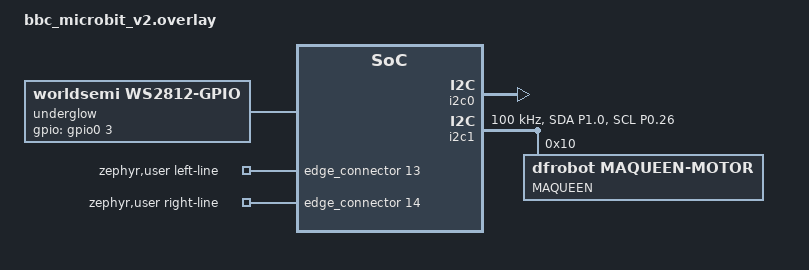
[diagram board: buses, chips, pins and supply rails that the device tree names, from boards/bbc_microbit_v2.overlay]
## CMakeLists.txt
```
# Maqueen Plus V3 Zephyr Test Application

cmake_minimum_required(VERSION 3.20.0)

# Add local DTS bindings
list(APPEND DTS_ROOT ${CMAKE_CURRENT_SOURCE_DIR})

find_package(Zephyr REQUIRED HINTS $ENV{ZEPHYR_BASE})

project(maqueen_test)

target_sources(app PRIVATE
    src/main.c
    src/maqueen.c
)

target_include_directories(app PRIVATE
    ${CMAKE_CURRENT_SOURCE_DIR}/src
)
```

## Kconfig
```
# Top-level Kconfig for zephyr-app
#
# SPDX-License-Identifier: Apache-2.0

mainmenu "Maqueen Plus V3 Zephyr Application"

# Include Zephyr Kconfig
source "Kconfig.zephyr"

# Include local driver Kconfigs
rsource "drivers/sen0628/Kconfig"
```

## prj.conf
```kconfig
# Maqueen Plus V3 Test Application Configuration

# Logging
CONFIG_LOG=y
CONFIG_LOG_DEFAULT_LEVEL=3

# Shell for debugging
CONFIG_SHELL=y
CONFIG_SHELL_BACKEND_SERIAL=y

# I2C
CONFIG_I2C=y
CONFIG_I2C_LOG_LEVEL_DBG=y

# GPIO
CONFIG_GPIO=y

# LED Strip (WS2812)
CONFIG_LED_STRIP=y
CONFIG_LED_STRIP_LOG_LEVEL_DBG=y

# Sensors (accelerometer)
CONFIG_SENSOR=y

# PWM (for buzzer, optional)
# CONFIG_PWM=y

# Timing
CONFIG_SYS_CLOCK_TICKS_PER_SEC=1000
```

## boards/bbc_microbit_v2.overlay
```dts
/*
 * Device Tree Overlay for BBC micro:bit V2 + DFRobot Maqueen Plus V3
 *
 * Hardware connections:
 *   - I2C 0x10: STM8 motor controller (motors, headlights, encoders)
 *   - I2C 0x33: SEN0628 ToF LIDAR (optional)
 *   - P1 (gpio0.3): WS2812 underglow LEDs (4 LEDs)
 *   - P13 (gpio0.17): Left line sensor
 *   - P14 (gpio0.1): Right line sensor
 *
 * Note: micro:bit V2 has TWO I2C buses:
 *   - i2c0: Internal (P0.16/P0.8) - on-board sensors (LSM303AGR)
 *   - i2c1: External (P19/P20 = P0.26/P1.0) - edge connector (Maqueen)
 */

#include <zephyr/dt-bindings/gpio/gpio.h>
#include <zephyr/dt-bindings/led/led.h>
#include <zephyr/dt-bindings/i2c/i2c.h>

/* Pin control for external I2C on edge connector */
&pinctrl {
	i2c1_default: i2c1_default {
		group1 {
			psels = <NRF_PSEL(TWIM_SDA, 1, 0)>,   /* P20 = P1.0 */
				<NRF_PSEL(TWIM_SCL, 0, 26)>;  /* P19 = P0.26 */
		};
	};

	i2c1_sleep: i2c1_sleep {
		group1 {
			psels = <NRF_PSEL(TWIM_SDA, 1, 0)>,
				<NRF_PSEL(TWIM_SCL, 0, 26)>;
			low-power-enable;
		};
	};
};

/ {
	aliases {
		led-strip = &underglow;
		motor-controller = &maqueen;
		/* Add alias for external I2C */
		i2c-ext = &i2c1;
	};

	chosen {
		zephyr,console = &uart0;
		zephyr,shell-uart = &uart0;
	};

	/* WS2812 underglow LEDs on P1 */
	underglow: ws2812 {
		compatible = "worldsemi,ws2812-gpio";
		chain-length = <4>;
		color-mapping = <LED_COLOR_ID_GREEN
				 LED_COLOR_ID_RED
				 LED_COLOR_ID_BLUE>;
		/* P1 = gpio0 pin 3 */
		gpios = <&gpio0 3 GPIO_ACTIVE_HIGH>;
	};

	/* Line following sensors */
	zephyr,user {
		/* P13 = gpio0 pin 17, P14 = gpio0 pin 1 */
		left-line-gpios = <&edge_connector 13 GPIO_ACTIVE_HIGH>;
		right-line-gpios = <&edge_connector 14 GPIO_ACTIVE_HIGH>;
	};
};

/* Internal I2C (on-board sensors) - keep default config */
&i2c0 {
	status = "okay";
};

/* External I2C on edge connector (P19/P20) - for Maqueen */
&i2c1 {
	compatible = "nordic,nrf-twim";
	status = "okay";
	clock-frequency = <I2C_BITRATE_STANDARD>;  /* 100kHz */
	pinctrl-0 = <&i2c1_default>;
	pinctrl-1 = <&i2c1_sleep>;
	pinctrl-names = "default", "sleep";

	/* Maqueen Plus V3 STM8 motor controller */
	maqueen: maqueen@10 {
		compatible = "dfrobot,maqueen-motor";
		reg = <0x10>;
		label = "MAQUEEN";
	};

	/* SEN0628 8x8 ToF LIDAR (optional - uncomment when driver exists)
	lidar: sen0628@33 {
		compatible = "dfrobot,sen0628";
		reg = <0x33>;
		label = "LIDAR";
		initial-mode = <8>;
	};
	*/
};
```

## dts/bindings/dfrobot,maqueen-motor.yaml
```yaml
# Device tree binding for DFRobot Maqueen motor controller
#
# This is the STM8 microcontroller on the Maqueen Plus V3 that handles:
# - DC motor control (left/right)
# - Headlight LEDs
# - Wheel encoders
#
# I2C Protocol:
#   Address: 0x10
#   Motor Left:  reg 0x00 [direction, speed]
#   Motor Right: reg 0x02 [direction, speed]
#   Headlights:  reg 0x0B/0x0C [color index 0-7]
#   Encoders:    reg 0x04-0x07 [16-bit counters]

description: DFRobot Maqueen Plus V3 motor controller (STM8)

compatible: "dfrobot,maqueen-motor"

include: i2c-device.yaml

properties:
  reg:
    required: true
    description: I2C address (always 0x10 for Maqueen)
```

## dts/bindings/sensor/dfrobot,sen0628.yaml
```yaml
# DFRobot SEN0628 8x8 ToF Matrix Sensor
#
# SPDX-License-Identifier: Apache-2.0

description: |
  DFRobot SEN0628 8x8 Time-of-Flight Matrix Sensor.

  The sensor uses a VL53L7CX chip with an RP2040 host processor
  that provides a simplified I2C interface. Supports 4x4 or 8x8
  resolution modes with 60-degree diagonal field of view.

compatible: "dfrobot,sen0628"

include: [sensor-device.yaml, i2c-device.yaml]

properties:
  initial-mode:
    type: int
    default: 8
    description: |
      Initial matrix mode after driver initialization.
      4 = 4x4 matrix (16 zones, faster)
      8 = 8x8 matrix (64 zones, higher resolution)
    enum:
      - 4
      - 8
```

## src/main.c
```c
/*
 * Maqueen Plus V3 Test Application for Zephyr RTOS
 *
 * Tests:
 *   1. WS2812 underglow LEDs
 *   2. Motor control
 *   3. Headlights
 *   4. Encoders
 *   5. Accelerometer
 *
 * SPDX-License-Identifier: Apache-2.0
 */

/* Set to 1 for USB-tethered testing (shorter/slower motor movements) */
#define TETHERED_MODE 0

#include <zephyr/kernel.h>
#include <zephyr/device.h>
#include <zephyr/drivers/i2c.h>
#include <zephyr/drivers/gpio.h>
#include <zephyr/drivers/led_strip.h>
#include <zephyr/drivers/sensor.h>
#include <zephyr/logging/log.h>
#include <zephyr/sys/util.h>
#include <string.h>

#include "maqueen.h"

LOG_MODULE_REGISTER(main, LOG_LEVEL_INF);

/* Device handles */
#define I2C_INT_NODE DT_NODELABEL(i2c0)   /* Internal I2C - on-board sensors */
#define I2C_EXT_NODE DT_NODELABEL(i2c1)   /* External I2C - edge connector (Maqueen) */
#define STRIP_NODE DT_ALIAS(led_strip)
#define ACCEL_NODE DT_NODELABEL(lsm303agr_accel)

#if DT_NODE_HAS_STATUS(STRIP_NODE, okay)
#define HAS_LED_STRIP 1
#define STRIP_NUM_PIXELS DT_PROP(STRIP_NODE, chain_length)
static const struct device *strip = DEVICE_DT_GET(STRIP_NODE);
static struct led_rgb pixels[STRIP_NUM_PIXELS];
#else
#define HAS_LED_STRIP 0
#endif

static const struct device *i2c_int = DEVICE_DT_GET(I2C_INT_NODE);  /* Internal */
static const struct device *i2c_ext = DEVICE_DT_GET(I2C_EXT_NODE);  /* External - Maqueen */

#if DT_NODE_HAS_STATUS(ACCEL_NODE, okay)
#define HAS_ACCEL 1
static const struct device *accel = DEVICE_DT_GET(ACCEL_NODE);
#else
#define HAS_ACCEL 0
#endif

/* RGB helper */
#define RGB(_r, _g, _b) { .r = (_r), .g = (_g), .b = (_b) }

/* Underglow colors */
static const struct led_rgb underglow_colors[] = {
	RGB(0x20, 0x00, 0x00),  /* Red */
	RGB(0x00, 0x20, 0x00),  /* Green */
	RGB(0x00, 0x00, 0x20),  /* Blue */
	RGB(0x20, 0x20, 0x00),  /* Yellow */
	RGB(0x20, 0x00, 0x20),  /* Magenta */
	RGB(0x00, 0x20, 0x20),  /* Cyan */
	RGB(0x20, 0x20, 0x20),  /* White */
};

/**
 * Test 1: Cycle through underglow LED colors
 */
static int test_underglow(void)
{
#if HAS_LED_STRIP
	int ret;

	LOG_INF("=== Test 1: Underglow LEDs ===");

	if (!device_is_ready(strip)) {
		LOG_ERR("LED strip not ready");
		return -ENODEV;
	}

	LOG_INF("Cycling through %d colors on %d LEDs",
		ARRAY_SIZE(underglow_colors), STRIP_NUM_PIXELS);

	for (size_t c = 0; c < ARRAY_SIZE(underglow_colors); c++) {
		/* Set all LEDs to same color */
		for (size_t i = 0; i < STRIP_NUM_PIXELS; i++) {
			memcpy(&pixels[i], &underglow_colors[c], sizeof(struct led_rgb));
		}

		ret = led_strip_update_rgb(strip, pixels, STRIP_NUM_PIXELS);
		if (ret) {
			LOG_ERR("Failed to update LED strip: %d", ret);
			return ret;
		}

		LOG_INF("Color %d: R=%d G=%d B=%d", c,
			underglow_colors[c].r,
			underglow_colors[c].g,
			underglow_colors[c].b);

		k_sleep(K_MSEC(500));
	}

	/* Turn off */
	memset(pixels, 0, sizeof(pixels));
	led_strip_update_rgb(strip, pixels, STRIP_NUM_PIXELS);

	LOG_INF("Underglow test complete");
	return 0;
#else
	LOG_WRN("LED strip not configured");
	return -ENOTSUP;
#endif
}

/**
 * Test 2: Motor control - brief forward movement
 *
 * TETHERED_MODE=1: Very brief wheel twitch (safe with USB cable)
 * TETHERED_MODE=0: Full 1-second movements (untethered only!)
 */
static int test_motors(void)
{
	int ret;

#if TETHERED_MODE
	const uint8_t speed = 60;       /* Slow speed */
	const int duration_ms = 200;    /* Very brief - just a twitch */
#else
	const uint8_t speed = 100;      /* Normal speed */
	const int duration_ms = 1000;   /* 1 second */
#endif

	LOG_INF("=== Test 2: Motors ===");
#if TETHERED_MODE
	LOG_INF("TETHERED MODE: Brief motor twitch only");
#else
	LOG_WRN("UNTETHERED MODE: Robot will move! Disconnect USB first!");
	k_sleep(K_SECONDS(3));  /* Give time to read warning */
#endif

	ret = maqueen_init(i2c_ext);
	if (ret < 0) {
		LOG_ERR("Failed to initialize Maqueen: %d", ret);
		return ret;
	}

	/* Clear encoders */
	maqueen_encoder_clear(i2c_ext);

	LOG_INF("Moving forward (speed %d) for %d ms...", speed, duration_ms);
	maqueen_motor_set(i2c_ext, MAQUEEN_MOTOR_LEFT, MAQUEEN_DIR_FORWARD, speed);
	maqueen_motor_set(i2c_ext, MAQUEEN_MOTOR_RIGHT, MAQUEEN_DIR_FORWARD, speed);
	k_sleep(K_MSEC(duration_ms));

	/* Stop */
	maqueen_stop_all(i2c_ext);
	LOG_INF("Stopped");

	/* Read encoders */
	int16_t left_enc, right_enc;
	maqueen_encoder_read(i2c_ext, MAQUEEN_MOTOR_LEFT, &left_enc);
	maqueen_encoder_read(i2c_ext, MAQUEEN_MOTOR_RIGHT, &right_enc);
	LOG_INF("Encoder counts: Left=%d, Right=%d", left_enc, right_enc);

	k_sleep(K_MSEC(300));

	LOG_INF("Moving backward (speed %d) for %d ms...", speed, duration_ms);
	maqueen_motor_set(i2c_ext, MAQUEEN_MOTOR_LEFT, MAQUEEN_DIR_REVERSE, speed);
	maqueen_motor_set(i2c_ext, MAQUEEN_MOTOR_RIGHT, MAQUEEN_DIR_REVERSE, speed);
	k_sleep(K_MSEC(duration_ms));

	maqueen_stop_all(i2c_ext);
	LOG_INF("Stopped");

	/* Read encoders again */
	maqueen_encoder_read(i2c_ext, MAQUEEN_MOTOR_LEFT, &left_enc);
	maqueen_encoder_read(i2c_ext, MAQUEEN_MOTOR_RIGHT, &right_enc);
	LOG_INF("Encoder counts: Left=%d, Right=%d", left_enc, right_enc);

	LOG_INF("Motor test complete");
	return 0;
}

/**
 * Test 3: Headlights
 */
static int test_headlights(void)
{
	int ret;

	LOG_INF("=== Test 3: Headlights ===");

	static const uint8_t colors[] = {
		MAQUEEN_COLOR_RED,
		MAQUEEN_COLOR_GREEN,
		MAQUEEN_COLOR_BLUE,
		MAQUEEN_COLOR_WHITE,
		MAQUEEN_COLOR_OFF,
	};

	for (size_t i = 0; i < ARRAY_SIZE(colors); i++) {
		LOG_INF("Headlight color: %d", colors[i]);

		ret = maqueen_headlight_set(i2c_ext, 0, colors[i]);
		if (ret < 0) {
			LOG_ERR("Failed to set left headlight: %d", ret);
		}

		ret = maqueen_headlight_set(i2c_ext, 1, colors[i]);
		if (ret < 0) {
			LOG_ERR("Failed to set right headlight: %d", ret);
		}

		k_sleep(K_MSEC(500));
	}

	LOG_INF("Headlight test complete");
	return 0;
}

/**
 * Test 4: Accelerometer
 */
static int test_accelerometer(void)
{
#if HAS_ACCEL
	struct sensor_value accel_vals[3];
	int ret;

	LOG_INF("=== Test 4: Accelerometer ===");

	if (!device_is_ready(accel)) {
		LOG_ERR("Accelerometer not ready");
		return -ENODEV;
	}

	LOG_INF("Reading accelerometer 5 times...");

	for (int i = 0; i < 5; i++) {
		ret = sensor_sample_fetch(accel);
		if (ret < 0) {
			LOG_ERR("Failed to fetch sample: %d", ret);
			continue;
		}

		ret = sensor_channel_get(accel, SENSOR_CHAN_ACCEL_XYZ, accel_vals);
		if (ret < 0) {
			LOG_ERR("Failed to get channel: %d", ret);
			continue;
		}

		LOG_INF("Accel X=%d.%06d Y=%d.%06d Z=%d.%06d m/s^2",
			accel_vals[0].val1, accel_vals[0].val2,
			accel_vals[1].val1, accel_vals[1].val2,
			accel_vals[2].val1, accel_vals[2].val2);

		k_sleep(K_MSEC(500));
	}

	LOG_INF("Accelerometer test complete");
	return 0;
#else
	LOG_WRN("Accelerometer not configured");
	return -ENOTSUP;
#endif
}

/**
 * Demo: Rainbow underglow animation
 */
static int demo_rainbow(void)
{
#if HAS_LED_STRIP
	LOG_INF("=== Demo: Rainbow Animation ===");

	if (!device_is_ready(strip)) {
		return -ENODEV;
	}

	/* Simple rotating rainbow */
	for (int cycle = 0; cycle < 20; cycle++) {
		for (size_t i = 0; i < STRIP_NUM_PIXELS; i++) {
			int hue = (cycle * 30 + i * 90) % 360;

			/* Simple HSV to RGB (approximate) */
			int section = hue / 60;
			int f = (hue % 60) * 255 / 60;

			switch (section) {
			case 0:
				pixels[i].r = 0x20;
				pixels[i].g = f >> 3;
				pixels[i].b = 0;
				break;
			case 1:
				pixels[i].r = (255 - f) >> 3;
				pixels[i].g = 0x20;
				pixels[i].b = 0;
				break;
			case 2:
				pixels[i].r = 0;
				pixels[i].g = 0x20;
				pixels[i].b = f >> 3;
				break;
			case 3:
				pixels[i].r = 0;
				pixels[i].g = (255 - f) >> 3;
				pixels[i].b = 0x20;
				break;
			case 4:
				pixels[i].r = f >> 3;
				pixels[i].g = 0;
				pixels[i].b = 0x20;
				break;
			case 5:
				pixels[i].r = 0x20;
				pixels[i].g = 0;
				pixels[i].b = (255 - f) >> 3;
				break;
			}
		}

		led_strip_update_rgb(strip, pixels, STRIP_NUM_PIXELS);
		k_sleep(K_MSEC(100));
	}

	/* Turn off */
	memset(pixels, 0, sizeof(pixels));
	led_strip_update_rgb(strip, pixels, STRIP_NUM_PIXELS);

	LOG_INF("Rainbow demo complete");
	return 0;
#else
	return -ENOTSUP;
#endif
}

/**
 * Scan an I2C bus for devices
 */
static void i2c_scan_bus(const struct device *i2c, const char *name)
{
	uint8_t dummy = 0;
	int found = 0;

	LOG_INF("Scanning %s (0x08-0x77)...", name);

	for (uint8_t addr = 0x08; addr < 0x78; addr++) {
		struct i2c_msg msg = {
			.buf = &dummy,
			.len = 0,
			.flags = I2C_MSG_WRITE | I2C_MSG_STOP,
		};
		int ret = i2c_transfer(i2c, &msg, 1, addr);
		if (ret == 0) {
			LOG_INF("  0x%02x", addr);
			found++;
		}
	}

	LOG_INF("  Found %d devices", found);
}

/**
 * Scan both I2C buses
 */
static void i2c_scan(void)
{
	LOG_INF("=== I2C Bus Scan ===");

	/* Scan internal bus (on-board sensors) */
	i2c_scan_bus(i2c_int, "i2c0 (internal)");

	/* Scan external bus (edge connector - Maqueen) */
	i2c_scan_bus(i2c_ext, "i2c1 (external/edge)");

	/* Direct test of Maqueen on external bus */
	LOG_INF("Direct test of 0x10 on external bus:");
	uint8_t reg = 0x32;
	uint8_t val;
	int ret = i2c_write_read(i2c_ext, 0x10, &reg, 1, &val, 1);
	LOG_INF("  ret=%d, val=0x%02x", ret, val);
}

int main(void)
{
	LOG_INF("========================================");
	LOG_INF("Maqueen Plus V3 Zephyr Test Application");
	LOG_INF("========================================");

	/* Check I2C buses */
	if (!device_is_ready(i2c_int)) {
		LOG_ERR("Internal I2C (i2c0) not ready!");
		return 0;
	}
	if (!device_is_ready(i2c_ext)) {
		LOG_ERR("External I2C (i2c1) not ready!");
		return 0;
	}

	LOG_INF("Both I2C buses ready, starting tests...\n");

	/* Scan I2C buses first */
	i2c_scan();

	k_sleep(K_SECONDS(2));  /* Give user time to observe */

	/* Run tests */
	test_underglow();
	k_sleep(K_SECONDS(1));

	test_motors();
	k_sleep(K_SECONDS(1));

	test_headlights();
	k_sleep(K_SECONDS(1));

	test_accelerometer();
	k_sleep(K_SECONDS(1));

	demo_rainbow();

	LOG_INF("========================================");
	LOG_INF("All tests complete!");
	LOG_INF("========================================");

	/* Keep running - could add shell commands here */
	while (1) {
		k_sleep(K_SECONDS(10));
	}

	return 0;
}
```

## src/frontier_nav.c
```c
/*
 * Copyright (c) 2026 Léandre's Maqueen Project
 * SPDX-License-Identifier: Apache-2.0
 *
 * Frontier-based navigation implementation
 */

#include "frontier_nav.h"
#include "occupancy_grid.h"

#include <stdlib.h>
#include <zephyr/logging/log.h>

LOG_MODULE_REGISTER(frontier_nav, LOG_LEVEL_INF);

/*
 * Direction vectors scaled by 1000
 * Index 0 = North (forward), increasing clockwise
 *
 * Direction:  N     NE    E     SE    S     SW    W     NW
 * Angle:      0°    45°   90°   135°  180°  225°  270°  315°
 */
const int16_t nav_dir_cos[NAV_NUM_DIRECTIONS] = {
    1000,   /* N:  cos(0°)   = 1.000 */
    707,    /* NE: cos(45°)  = 0.707 */
    0,      /* E:  cos(90°)  = 0.000 */
    -707,   /* SE: cos(135°) = -0.707 */
    -1000,  /* S:  cos(180°) = -1.000 */
    -707,   /* SW: cos(225°) = -0.707 */
    0,      /* W:  cos(270°) = 0.000 */
    707     /* NW: cos(315°) = 0.707 */
};

const int16_t nav_dir_sin[NAV_NUM_DIRECTIONS] = {
    0,      /* N:  sin(0°)   = 0.000 */
    707,    /* NE: sin(45°)  = 0.707 */
    1000,   /* E:  sin(90°)  = 1.000 */
    707,    /* SE: sin(135°) = 0.707 */
    0,      /* S:  sin(180°) = 0.000 */
    -707,   /* SW: sin(225°) = -0.707 */
    -1000,  /* W:  sin(270°) = -1.000 */
    -707    /* NW: sin(315°) = -0.707 */
};

/* ==================== Direction Utilities ==================== */

int frontier_dir_to_angle(int direction)
{
    /* Normalize to 0-7 */
    direction = direction & 7;
    return direction * 45;
}

int frontier_angle_to_dir(int angle_deg)
{
    /* Normalize to 0-359 */
    while (angle_deg < 0) {
        angle_deg += 360;
    }
    while (angle_deg >= 360) {
        angle_deg -= 360;
    }

    /* Round to nearest 45° */
    return ((angle_deg + 22) / 45) & 7;
}

int frontier_dir_diff(int from, int to)
{
    int diff = (to - from) & 7;

    /* Convert to signed: 0-3 stay positive, 4-7 become negative */
    if (diff > 4) {
        diff -= 8;
    } else if (diff == 4) {
        /* 180° - prefer positive (right turn) */
        diff = 4;
    }

    return diff;
}

/* ==================== Frontier Search ==================== */

int frontier_check_direction(const struct occupancy_grid *grid,
                             int robot_cx, int robot_cy,
                             int direction,
                             struct frontier_result *result)
{
    int unknown_count = 0;
    int first_unknown = 0;
    bool blocked = false;
    int cos_val = nav_dir_cos[direction];
    int sin_val = nav_dir_sin[direction];

    /* Ray cast in this direction */
    for (int dist = 1; dist <= NAV_MAX_RAY_DIST; dist++) {
        /* Calculate cell coordinates */
        int cx = robot_cx + (dist * cos_val) / 1000;
        int cy = robot_cy + (dist * sin_val) / 1000;

        /* Check bounds */
        if (!grid_is_valid(cx, cy)) {
            break;
        }

        /* Get cell state */
        cell_state_t state = grid_get_state(grid, cx, cy);

        if (state == CELL_OCCUPIED) {
            blocked = true;
            break;
        }

        if (state == CELL_UNKNOWN) {
            unknown_count++;
            if (first_unknown == 0) {
                first_unknown = dist;
            }
        }
    }

    /* Fill result if provided */
    if (result) {
        result->direction = direction;
        result->unknown_count = unknown_count;
        result->distance_cells = first_unknown;
        result->path_blocked = blocked;
    }

    return unknown_count;
}

int frontier_find_best(const struct occupancy_grid *grid,
                       int robot_cx, int robot_cy,
                       int robot_heading_deg,
                       struct frontier_result *result)
{
    int best_dir = 0;
    int best_score = -1;
    int best_unknown = 0;
    int best_dist = NAV_MAX_RAY_DIST;
    bool any_frontier = false;

    int robot_dir = frontier_angle_to_dir(robot_heading_deg);

    LOG_DBG("Finding frontier from (%d,%d) heading %d°",
            robot_cx, robot_cy, robot_heading_deg);

    /* Check all 8 directions */
    for (int d = 0; d < NAV_NUM_DIRECTIONS; d++) {
        struct frontier_result dir_result;

        frontier_check_direction(grid, robot_cx, robot_cy, d, &dir_result);

        /* Skip blocked or empty directions */
        if (dir_result.path_blocked && dir_result.distance_cells == 0) {
            continue;
        }

        if (dir_result.unknown_count == 0) {
            continue;
        }

        any_frontier = true;

        /* Calculate score */
        int turn_penalty = abs(frontier_dir_diff(robot_dir, d));

        int score = dir_result.unknown_count * 10
                  + (NAV_MAX_RAY_DIST - dir_result.distance_cells) * 2
                  - turn_penalty * 3;

        /* Bonus for forward direction (prefer not turning) */
        if (d == robot_dir) {
            score += 5;
        }

        LOG_DBG("  Dir %d: unknown=%d, dist=%d, turn=%d, score=%d%s",
                d, dir_result.unknown_count, dir_result.distance_cells,
                turn_penalty, score, dir_result.path_blocked ? " (blocked)" : "");

        if (score > best_score) {
            best_score = score;
            best_dir = d;
            best_unknown = dir_result.unknown_count;
            best_dist = dir_result.distance_cells;
        }
    }

    /* Fill result */
    result->direction = best_dir;
    result->score = best_score;
    result->unknown_count = best_unknown;
    result->distance_cells = best_dist;
    result->path_blocked = false;  /* Best direction is not blocked */
    result->exploration_complete = !any_frontier;

    if (any_frontier) {
        LOG_INF("Best frontier: dir=%d (%d°), score=%d, unknown=%d",
                best_dir, frontier_dir_to_angle(best_dir),
                best_score, best_unknown);
    } else {
        LOG_INF("No frontiers found - exploration complete");
    }

    return any_frontier ? 0 : -ENOENT;
}

bool frontier_is_complete(const struct occupancy_grid *grid, int threshold)
{
    struct grid_stats stats;
    grid_get_stats(grid, &stats);

    bool complete = (stats.unknown_count < threshold);

    if (complete) {
        LOG_INF("Exploration complete: %d unknown cells (threshold=%d)",
                stats.unknown_count, threshold);
    }

    return complete;
}

int frontier_obstacle_distance(const struct occupancy_grid *grid,
                               int robot_cx, int robot_cy,
                               int direction)
{
    int cos_val = nav_dir_cos[direction];
    int sin_val = nav_dir_sin[direction];

    for (int dist = 1; dist <= NAV_MAX_RAY_DIST; dist++) {
        int cx = robot_cx + (dist * cos_val) / 1000;
        int cy = robot_cy + (dist * sin_val) / 1000;

        if (!grid_is_valid(cx, cy)) {
            return dist - 1;
        }

        if (grid_get_state(grid, cx, cy) == CELL_OCCUPIED) {
            return dist;
        }
    }

    return NAV_MAX_RAY_DIST;
}
```

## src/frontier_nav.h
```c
/*
 * Copyright (c) 2026 Léandre's Maqueen Project
 * SPDX-License-Identifier: Apache-2.0
 *
 * Frontier-based navigation for exploration
 * Finds best direction toward unexplored areas
 */

#ifndef FRONTIER_NAV_H
#define FRONTIER_NAV_H

#include <stdint.h>
#include <stdbool.h>

#ifdef __cplusplus
extern "C" {
#endif

/* Number of discrete directions */
#define NAV_NUM_DIRECTIONS  8

/* Direction indices: 0=N(forward), 1=NE, 2=E(right), etc. */
#define NAV_DIR_N   0   /* Forward (0°) */
#define NAV_DIR_NE  1   /* Forward-right (45°) */
#define NAV_DIR_E   2   /* Right (90°) */
#define NAV_DIR_SE  3   /* Back-right (135°) */
#define NAV_DIR_S   4   /* Backward (180°) */
#define NAV_DIR_SW  5   /* Back-left (225°) */
#define NAV_DIR_W   6   /* Left (270°) */
#define NAV_DIR_NW  7   /* Forward-left (315°) */

/* Maximum ray cast distance (cells) */
#define NAV_MAX_RAY_DIST    20

/* Exploration completion threshold */
#define NAV_DEFAULT_COMPLETE_THRESHOLD  100

/* Forward declaration */
struct occupancy_grid;

/**
 * @brief Result of frontier search
 */
struct frontier_result {
    int direction;              /* Best direction (0-7) */
    int score;                  /* Exploration score (higher = better) */
    int distance_cells;         /* Distance to nearest frontier */
    int unknown_count;          /* Unknown cells in this direction */
    bool path_blocked;          /* True if obstacle blocks path */
    bool exploration_complete;  /* True if no more frontiers */
};

/**
 * @brief Direction vectors (cosine × 1000, sine × 1000)
 *
 * Index by direction (0-7) to get unit vector components.
 */
extern const int16_t nav_dir_cos[NAV_NUM_DIRECTIONS];
extern const int16_t nav_dir_sin[NAV_NUM_DIRECTIONS];

/* ==================== Direction Utilities ==================== */

/**
 * @brief Convert direction index to angle in degrees
 *
 * @param direction Direction index (0-7)
 * @return Angle in degrees (0, 45, 90, ..., 315)
 */
int frontier_dir_to_angle(int direction);

/**
 * @brief Convert angle to nearest direction index
 *
 * @param angle_deg Angle in degrees (0-359)
 * @return Direction index (0-7)
 */
int frontier_angle_to_dir(int angle_deg);

/**
 * @brief Calculate signed difference between directions
 *
 * Returns the shortest rotation from 'from' to 'to'.
 *
 * @param from Starting direction (0-7)
 * @param to Target direction (0-7)
 * @return Difference (-4 to +3), negative = left, positive = right
 */
int frontier_dir_diff(int from, int to);

/* ==================== Frontier Search ==================== */

/**
 * @brief Find best direction toward unexplored area
 *
 * Casts rays in 8 directions from robot position, counting
 * unknown cells and checking for obstacles. Returns direction
 * with highest exploration score.
 *
 * Score formula:
 *   score = unknown_count * 10 + (MAX_DIST - first_unknown) * 2 - turn_penalty * 3
 *
 * @param grid Occupancy grid
 * @param robot_cx Robot cell X coordinate
 * @param robot_cy Robot cell Y coordinate
 * @param robot_heading_deg Robot heading in degrees (for turn penalty)
 * @param result Output result structure
 * @return 0 on success, negative errno on failure
 */
int frontier_find_best(const struct occupancy_grid *grid,
                       int robot_cx, int robot_cy,
                       int robot_heading_deg,
                       struct frontier_result *result);

/**
 * @brief Check exploration status for single direction
 *
 * @param grid Occupancy grid
 * @param robot_cx Robot cell X coordinate
 * @param robot_cy Robot cell Y coordinate
 * @param direction Direction to check (0-7)
 * @param result Output result (optional, can be NULL)
 * @return Number of unknown cells in direction
 */
int frontier_check_direction(const struct occupancy_grid *grid,
                             int robot_cx, int robot_cy,
                             int direction,
                             struct frontier_result *result);

/**
 * @brief Check if exploration is complete
 *
 * @param grid Occupancy grid
 * @param threshold Maximum unknown cells to consider complete
 * @return true if exploration is complete
 */
bool frontier_is_complete(const struct occupancy_grid *grid, int threshold);

/**
 * @brief Get nearest obstacle distance in direction
 *
 * @param grid Occupancy grid
 * @param robot_cx Robot cell X coordinate
 * @param robot_cy Robot cell Y coordinate
 * @param direction Direction to check (0-7)
 * @return Distance in cells to nearest obstacle, or NAV_MAX_RAY_DIST if clear
 */
int frontier_obstacle_distance(const struct occupancy_grid *grid,
                               int robot_cx, int robot_cy,
                               int direction);

#ifdef __cplusplus
}
#endif

#endif /* FRONTIER_NAV_H */
```

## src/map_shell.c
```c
/*
 * Copyright (c) 2026 Léandre's Maqueen Project
 * SPDX-License-Identifier: Apache-2.0
 *
 * Shell commands for map operations
 */

#include <zephyr/shell/shell.h>
#include <zephyr/logging/log.h>
#include <stdlib.h>
#include <string.h>

#include "occupancy_grid.h"
#include "map_storage.h"
#include "odometry.h"
#include "maqueen.h"

LOG_MODULE_REGISTER(map_shell, LOG_LEVEL_INF);

/* External references - must be provided by application */
extern struct occupancy_grid *map_shell_grid;
extern struct odometry *map_shell_odom;
extern const struct device *map_shell_i2c;

/* ==================== Command Handlers ==================== */

/**
 * @brief Show map as ASCII art
 *
 * Usage: map show [scale]
 * Scale: 1 = full size, 2 = half, 4 = quarter
 */
static int cmd_map_show(const struct shell *sh, size_t argc, char **argv)
{
    int scale = 1;

    if (!map_shell_grid) {
        shell_error(sh, "No grid available");
        return -ENODEV;
    }

    if (argc > 1) {
        scale = atoi(argv[1]);
        if (scale < 1 || scale > 4) {
            scale = 1;
        }
    }

    int display_size = GRID_SIZE / scale;

    /* Header line */
    shell_fprintf(sh, SHELL_NORMAL, "+");
    for (int x = 0; x < display_size; x++) {
        shell_fprintf(sh, SHELL_NORMAL, "-");
    }
    shell_fprintf(sh, SHELL_NORMAL, "+\n");

    /* Grid rows */
    for (int y = 0; y < display_size; y++) {
        shell_fprintf(sh, SHELL_NORMAL, "|");

        for (int x = 0; x < display_size; x++) {
            /* Sample center of scaled cell */
            int gx = x * scale + scale / 2;
            int gy = y * scale + scale / 2;

            cell_state_t state = grid_get_state(map_shell_grid, gx, gy);
            char c;

            switch (state) {
            case CELL_FREE:
                c = ' ';
                break;
            case CELL_OCCUPIED:
                c = '#';
                break;
            default:
                c = '.';
                break;
            }

            /* Mark robot position */
            if (map_shell_odom) {
                int rx, ry;
                grid_world_to_cell(map_shell_grid, map_shell_odom->x,
                                   map_shell_odom->y, &rx, &ry);
                if (gx / scale == rx / scale && gy / scale == ry / scale) {
                    c = '@';
                }
            }

            shell_fprintf(sh, SHELL_NORMAL, "%c", c);
        }

        shell_fprintf(sh, SHELL_NORMAL, "|\n");
    }

    /* Footer line */
    shell_fprintf(sh, SHELL_NORMAL, "+");
    for (int x = 0; x < display_size; x++) {
        shell_fprintf(sh, SHELL_NORMAL, "-");
    }
    shell_fprintf(sh, SHELL_NORMAL, "+\n");

    return 0;
}

/**
 * @brief Export map in machine-readable format
 *
 * Usage: map export
 */
static int cmd_map_export(const struct shell *sh, size_t argc, char **argv)
{
    ARG_UNUSED(argc);
    ARG_UNUSED(argv);

    if (!map_shell_grid) {
        shell_error(sh, "No grid available");
        return -ENODEV;
    }

    struct grid_stats stats;
    grid_get_stats(map_shell_grid, &stats);

    shell_print(sh, "---MAP-START---");
    shell_print(sh, "VERSION:%d", MAP_VERSION);
    shell_print(sh, "SIZE:%d", GRID_SIZE);
    shell_print(sh, "CELL:%d", CELL_MM);
    shell_print(sh, "ORIGIN:%d,%d",
                (int)map_shell_grid->origin_x,
                (int)map_shell_grid->origin_y);

    if (map_shell_odom) {
        shell_print(sh, "POSE:%d,%d,%d",
                    (int)map_shell_odom->x,
                    (int)map_shell_odom->y,
                    (int)map_shell_odom->heading_mdeg);
    } else {
        shell_print(sh, "POSE:0,0,0");
    }

    shell_print(sh, "UPDATES:%u", stats.update_count);

    /* Export grid data as hex */
    shell_fprintf(sh, SHELL_NORMAL, "DATA:");

    for (int i = 0; i < GRID_BYTES; i++) {
        shell_fprintf(sh, SHELL_NORMAL, "%02X",
                      (uint8_t)map_shell_grid->data[i]);

        /* Line break every 64 bytes for readability */
        if ((i + 1) % 64 == 0 && i < GRID_BYTES - 1) {
            shell_fprintf(sh, SHELL_NORMAL, "\n     ");
        }
    }
    shell_fprintf(sh, SHELL_NORMAL, "\n");

    shell_print(sh, "STATS:%d,%d,%d",
                stats.unknown_count, stats.free_count, stats.occupied_count);

    uint32_t crc = map_storage_crc32((const uint8_t *)map_shell_grid->data,
                                     GRID_BYTES);
    shell_print(sh, "CRC:%08X", crc);

    shell_print(sh, "---MAP-END---");

    return 0;
}

/**
 * @brief Save map to NVS
 *
 * Usage: map save
 */
static int cmd_map_save(const struct shell *sh, size_t argc, char **argv)
{
    ARG_UNUSED(argc);
    ARG_UNUSED(argv);

    if (!map_shell_grid) {
        shell_error(sh, "No grid available");
        return -ENODEV;
    }

    int ret = map_storage_save(map_shell_grid, map_shell_odom);
    if (ret < 0) {
        shell_error(sh, "Save failed: %d", ret);
        return ret;
    }

    shell_print(sh, "Map saved to NVS");
    return 0;
}

/**
 * @brief Load map from NVS
 *
 * Usage: map load
 */
static int cmd_map_load(const struct shell *sh, size_t argc, char **argv)
{
    ARG_UNUSED(argc);
    ARG_UNUSED(argv);

    if (!map_shell_grid) {
        shell_error(sh, "No grid available");
        return -ENODEV;
    }

    int ret = map_storage_load(map_shell_grid, map_shell_odom);
    if (ret < 0) {
        shell_error(sh, "Load failed: %d", ret);
        return ret;
    }

    shell_print(sh, "Map loaded from NVS");
    return 0;
}

/**
 * @brief Clear map (RAM only)
 *
 * Usage: map clear
 */
static int cmd_map_clear(const struct shell *sh, size_t argc, char **argv)
{
    ARG_UNUSED(argc);
    ARG_UNUSED(argv);

    if (!map_shell_grid) {
        shell_error(sh, "No grid available");
        return -ENODEV;
    }

    grid_clear(map_shell_grid);
    shell_print(sh, "Map cleared");
    return 0;
}

/**
 * @brief Erase map from NVS
 *
 * Usage: map erase
 */
static int cmd_map_erase(const struct shell *sh, size_t argc, char **argv)
{
    ARG_UNUSED(argc);
    ARG_UNUSED(argv);

    int ret = map_storage_clear();
    if (ret < 0) {
        shell_error(sh, "Erase failed: %d", ret);
        return ret;
    }

    shell_print(sh, "NVS map erased");
    return 0;
}

/**
 * @brief Show map statistics
 *
 * Usage: map stats
 */
static int cmd_map_stats(const struct shell *sh, size_t argc, char **argv)
{
    ARG_UNUSED(argc);
    ARG_UNUSED(argv);

    if (!map_shell_grid) {
        shell_error(sh, "No grid available");
        return -ENODEV;
    }

    struct grid_stats grid_stats;
    grid_get_stats(map_shell_grid, &grid_stats);

    shell_print(sh, "=== Map Statistics ===");
    shell_print(sh, "Grid size:    %dx%d (%d cells)", GRID_SIZE, GRID_SIZE,
                GRID_SIZE * GRID_SIZE);
    shell_print(sh, "Cell size:    %dmm", CELL_MM);
    shell_print(sh, "Coverage:     %dmm x %dmm", GRID_COVERAGE, GRID_COVERAGE);
    shell_print(sh, "Memory:       %d bytes", GRID_BYTES);
    shell_print(sh, "");
    shell_print(sh, "Unknown:      %d cells (%.1f%%)",
                grid_stats.unknown_count,
                (double)(100.0f * grid_stats.unknown_count / (GRID_SIZE * GRID_SIZE)));
    shell_print(sh, "Free:         %d cells (%.1f%%)",
                grid_stats.free_count,
                (double)(100.0f * grid_stats.free_count / (GRID_SIZE * GRID_SIZE)));
    shell_print(sh, "Occupied:     %d cells (%.1f%%)",
                grid_stats.occupied_count,
                (double)(100.0f * grid_stats.occupied_count / (GRID_SIZE * GRID_SIZE)));
    shell_print(sh, "");
    shell_print(sh, "Updates:      %u", grid_stats.update_count);

    /* NVS stats */
    struct map_storage_stats storage_stats;
    map_storage_get_stats(&storage_stats);

    shell_print(sh, "");
    shell_print(sh, "=== Storage Statistics ===");
    shell_print(sh, "NVS ready:    %s", storage_stats.initialized ? "yes" : "no");
    shell_print(sh, "Map in NVS:   %s", storage_stats.map_exists ? "yes" : "no");
    shell_print(sh, "Saves:        %u", storage_stats.save_count);
    shell_print(sh, "Loads:        %u", storage_stats.load_count);

    return 0;
}

/**
 * @brief Show NVS map info
 *
 * Usage: map info
 */
static int cmd_map_info(const struct shell *sh, size_t argc, char **argv)
{
    ARG_UNUSED(argc);
    ARG_UNUSED(argv);

    struct map_header header;
    int ret = map_storage_get_header(&header);

    if (ret < 0) {
        shell_print(sh, "No map stored in NVS");
        return 0;
    }

    shell_print(sh, "=== Stored Map Info ===");
    shell_print(sh, "Version:      %d", header.version);
    shell_print(sh, "Grid size:    %d", header.grid_size);
    shell_print(sh, "Cell size:    %dmm", header.cell_mm);
    shell_print(sh, "Origin:       (%d, %d)", (int)header.origin_x,
                (int)header.origin_y);
    shell_print(sh, "Robot pose:   (%d, %d) @ %d°",
                (int)header.robot_x, (int)header.robot_y,
                (int)(header.robot_heading / 1000));
    shell_print(sh, "Updates:      %u", header.update_count);
    shell_print(sh, "Saved at:     %ums uptime", header.timestamp);
    shell_print(sh, "CRC:          0x%08X", header.checksum);

    return 0;
}

/**
 * @brief Query specific cell
 *
 * Usage: map cell <x> <y>
 */
static int cmd_map_cell(const struct shell *sh, size_t argc, char **argv)
{
    if (argc < 3) {
        shell_error(sh, "Usage: map cell <x> <y>");
        return -EINVAL;
    }

    if (!map_shell_grid) {
        shell_error(sh, "No grid available");
        return -ENODEV;
    }

    int cx = atoi(argv[1]);
    int cy = atoi(argv[2]);

    if (!grid_is_valid(cx, cy)) {
        shell_error(sh, "Cell (%d,%d) out of bounds (0-%d)",
                    cx, cy, GRID_SIZE - 1);
        return -EINVAL;
    }

    int8_t logodds = grid_get_logodds(map_shell_grid, cx, cy);
    cell_state_t state = grid_get_state(map_shell_grid, cx, cy);
    const char *state_str = (state == CELL_FREE) ? "FREE" :
                            (state == CELL_OCCUPIED) ? "OCCUPIED" : "UNKNOWN";

    int32_t wx, wy;
    grid_cell_to_world(map_shell_grid, cx, cy, &wx, &wy);

    shell_print(sh, "Cell (%d,%d):", cx, cy);
    shell_print(sh, "  Log-odds: %d", logodds);
    shell_print(sh, "  State:    %s", state_str);
    shell_print(sh, "  World:    (%dmm, %dmm)", (int)wx, (int)wy);

    return 0;
}

/**
 * @brief Show robot pose
 *
 * Usage: map pose
 */
static int cmd_map_pose(const struct shell *sh, size_t argc, char **argv)
{
    ARG_UNUSED(argc);
    ARG_UNUSED(argv);

    if (!map_shell_odom) {
        shell_error(sh, "No odometry available");
        return -ENODEV;
    }

    int rx = 0, ry = 0;
    if (map_shell_grid) {
        grid_world_to_cell(map_shell_grid, map_shell_odom->x,
                           map_shell_odom->y, &rx, &ry);
    }

    shell_print(sh, "Robot pose:");
    shell_print(sh, "  World:   (%dmm, %dmm)",
                (int)map_shell_odom->x, (int)map_shell_odom->y);
    shell_print(sh, "  Heading: %d° (%d mdeg)",
                (int)(map_shell_odom->heading_mdeg / 1000),
                (int)map_shell_odom->heading_mdeg);
    shell_print(sh, "  Cell:    (%d, %d)", rx, ry);

    return 0;
}

/**
 * @brief Emergency stop - stops all motors immediately
 *
 * Usage: map stop
 */
static int cmd_map_stop(const struct shell *sh, size_t argc, char **argv)
{
    ARG_UNUSED(argc);
    ARG_UNUSED(argv);

    if (!map_shell_i2c) {
        shell_error(sh, "No I2C device available");
        return -ENODEV;
    }

    int ret = maqueen_stop_all(map_shell_i2c);
    if (ret < 0) {
        shell_error(sh, "Failed to stop motors: %d", ret);
        return ret;
    }

    shell_print(sh, "Motors stopped");
    return 0;
}

/**
 * @brief Clear calibration data (forces recalibration on next start)
 *
 * Usage: map recalib
 */
static int cmd_map_recalib(const struct shell *sh, size_t argc, char **argv)
{
    ARG_UNUSED(argc);
    ARG_UNUSED(argv);

    /* Check if calibration exists */
    if (!map_storage_calibration_exists()) {
        shell_print(sh, "No calibration data stored");
        return 0;
    }

    /* Show current calibration */
    uint16_t turn_speed, ms_per_deg;
    int ret = map_storage_load_calibration(&turn_speed, &ms_per_deg);
    if (ret == 0) {
        shell_print(sh, "Current calibration: speed=%d, ms/deg=%d",
                    turn_speed, ms_per_deg);
    }

    /* Clear calibration */
    ret = map_storage_clear_calibration();
    if (ret < 0) {
        shell_error(sh, "Failed to clear calibration: %d", ret);
        return ret;
    }

    shell_print(sh, "Calibration cleared. Restart to recalibrate.");
    return 0;
}

/* ==================== Shell Command Registration ==================== */

SHELL_STATIC_SUBCMD_SET_CREATE(sub_map,
    SHELL_CMD(show, NULL, "Show map as ASCII art [scale]", cmd_map_show),
    SHELL_CMD(export, NULL, "Export map in machine format", cmd_map_export),
    SHELL_CMD(save, NULL, "Save map to NVS", cmd_map_save),
    SHELL_CMD(load, NULL, "Load map from NVS", cmd_map_load),
    SHELL_CMD(clear, NULL, "Clear map (RAM)", cmd_map_clear),
    SHELL_CMD(erase, NULL, "Erase map from NVS", cmd_map_erase),
    SHELL_CMD(stats, NULL, "Show map statistics", cmd_map_stats),
    SHELL_CMD(info, NULL, "Show stored map info", cmd_map_info),
    SHELL_CMD(cell, NULL, "Query cell <x> <y>", cmd_map_cell),
    SHELL_CMD(pose, NULL, "Show robot pose", cmd_map_pose),
    SHELL_CMD(stop, NULL, "Emergency stop motors", cmd_map_stop),
    SHELL_CMD(recalib, NULL, "Clear calibration (restart needed)", cmd_map_recalib),
    SHELL_SUBCMD_SET_END
);

SHELL_CMD_REGISTER(map, &sub_map, "Map commands", NULL);
```

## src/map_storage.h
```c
/*
 * Copyright (c) 2026 Léandre's Maqueen Project
 * SPDX-License-Identifier: Apache-2.0
 *
 * Map storage using Zephyr NVS (Non-Volatile Storage)
 * Persists occupancy grid to flash memory
 */

#ifndef MAP_STORAGE_H
#define MAP_STORAGE_H

#include <stdint.h>
#include <stdbool.h>
#include <stddef.h>

#ifdef __cplusplus
extern "C" {
#endif

/* NVS item IDs */
#define MAP_NVS_ID_HEADER   1
#define MAP_NVS_ID_DATA     2
#define MAP_NVS_ID_CALIB    3

/* Map file magic and version */
#define MAP_MAGIC           0x4D415032  /* 'MAP2' */
#define MAP_VERSION         2

/* Forward declarations */
struct occupancy_grid;
struct odometry;

/**
 * @brief Map header stored in NVS
 */
struct map_header {
    uint32_t magic;             /* MAP_MAGIC for validation */
    uint16_t version;           /* MAP_VERSION */
    uint16_t grid_size;         /* Grid dimension (48) */
    uint16_t cell_mm;           /* Cell size in mm (100) */
    uint16_t reserved;          /* Padding */
    int32_t origin_x;           /* Grid origin X */
    int32_t origin_y;           /* Grid origin Y */
    int32_t robot_x;            /* Robot position X at save time */
    int32_t robot_y;            /* Robot position Y */
    int32_t robot_heading;      /* Robot heading (mdeg) */
    uint32_t update_count;      /* Total grid updates */
    uint32_t timestamp;         /* Save timestamp (uptime) */
    uint32_t checksum;          /* CRC32 of grid data */
};

/**
 * @brief Storage statistics
 */
struct map_storage_stats {
    bool initialized;           /* Storage initialized */
    bool map_exists;            /* Map saved in NVS */
    uint32_t save_count;        /* Total saves this session */
    uint32_t load_count;        /* Total loads this session */
    uint32_t last_save_ms;      /* Last save timestamp */
    size_t flash_used;          /* Bytes used in NVS */
};

/* ==================== Initialization ==================== */

/**
 * @brief Initialize map storage
 *
 * Must be called before any other map_storage functions.
 * Initializes NVS subsystem if not already done.
 *
 * @return 0 on success, negative errno on failure
 */
int map_storage_init(void);

/**
 * @brief Check if storage is ready
 *
 * @return true if initialized and ready
 */
bool map_storage_is_ready(void);

/* ==================== Save/Load ==================== */

/**
 * @brief Save map to NVS
 *
 * Saves grid data and robot pose to flash. Computes CRC32
 * checksum for data integrity verification.
 *
 * @param grid Occupancy grid to save
 * @param odom Odometry (for robot pose), can be NULL
 * @return 0 on success, negative errno on failure
 */
int map_storage_save(const struct occupancy_grid *grid,
                     const struct odometry *odom);

/**
 * @brief Load map from NVS
 *
 * Loads grid data and optionally restores robot pose.
 * Verifies CRC32 checksum before loading.
 *
 * @param grid Occupancy grid to load into
 * @param odom Odometry to restore pose (can be NULL)
 * @return 0 on success, negative errno on failure
 */
int map_storage_load(struct occupancy_grid *grid,
                     struct odometry *odom);

/**
 * @brief Clear stored map
 *
 * Erases map data from NVS.
 *
 * @return 0 on success, negative errno on failure
 */
int map_storage_clear(void);

/* ==================== Status ==================== */

/**
 * @brief Check if a map exists in storage
 *
 * @return true if valid map is stored
 */
bool map_storage_exists(void);

/**
 * @brief Get stored map header without loading data
 *
 * @param header Output header structure
 * @return 0 on success, negative errno on failure
 */
int map_storage_get_header(struct map_header *header);

/**
 * @brief Get storage statistics
 *
 * @param stats Output statistics structure
 */
void map_storage_get_stats(struct map_storage_stats *stats);

/* ==================== Utilities ==================== */

/**
 * @brief Compute CRC32 of data
 *
 * @param data Data buffer
 * @param len Data length
 * @return CRC32 checksum
 */
uint32_t map_storage_crc32(const uint8_t *data, size_t len);

/* ==================== Calibration Storage ==================== */

/**
 * @brief Calibration data structure
 */
struct calibration_data {
    uint32_t magic;             /* 0x43414C42 'CALB' */
    uint16_t turn_speed;        /* Motor speed for turns */
    uint16_t ms_per_degree;     /* Calibrated rotation timing */
};

#define CALIB_MAGIC 0x43414C42  /* 'CALB' */

/**
 * @brief Save calibration data to NVS
 *
 * @param turn_speed Motor turn speed
 * @param ms_per_deg Milliseconds per degree
 * @return 0 on success, negative errno on failure
 */
int map_storage_save_calibration(uint16_t turn_speed, uint16_t ms_per_deg);

/**
 * @brief Load calibration data from NVS
 *
 * @param turn_speed Output: motor turn speed
 * @param ms_per_deg Output: milliseconds per degree
 * @return 0 on success, negative errno on failure
 */
int map_storage_load_calibration(uint16_t *turn_speed, uint16_t *ms_per_deg);

/**
 * @brief Check if calibration data exists
 *
 * @return true if valid calibration is stored
 */
bool map_storage_calibration_exists(void);

/**
 * @brief Clear calibration data from NVS
 *
 * @return 0 on success, negative errno on failure
 */
int map_storage_clear_calibration(void);

#ifdef __cplusplus
}
#endif

#endif /* MAP_STORAGE_H */
```

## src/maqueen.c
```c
/*
 * DFRobot Maqueen Plus V3 Motor Controller Driver
 *
 * SPDX-License-Identifier: Apache-2.0
 */

#include "maqueen.h"
#include <zephyr/logging/log.h>

LOG_MODULE_REGISTER(maqueen, LOG_LEVEL_INF);

int maqueen_init(const struct device *i2c_dev)
{
	uint8_t version;
	uint8_t reset_cmd[2] = { 0x49, 0x01 };
	int ret;
	int retries = 10;

	if (!device_is_ready(i2c_dev)) {
		LOG_ERR("I2C device not ready");
		return -ENODEV;
	}

	/* Send reset command (from MakeCode library) */
	ret = i2c_write(i2c_dev, reset_cmd, sizeof(reset_cmd), MAQUEEN_I2C_ADDR);
	if (ret < 0) {
		LOG_WRN("Reset command failed: %d (continuing anyway)", ret);
	} else {
		LOG_DBG("Reset command sent");
	}

	/* Wait for STM8 to initialize */
	k_msleep(100);

	/* Poll version register until ready */
	while (retries-- > 0) {
		ret = maqueen_get_version(i2c_dev, &version);
		if (ret == 0 && version != 0) {
			break;
		}
		k_msleep(50);
	}

	if (ret < 0) {
		LOG_ERR("Failed to communicate with Maqueen at 0x%02x", MAQUEEN_I2C_ADDR);
		return ret;
	}

	LOG_INF("Maqueen Plus V3 initialized (version: 0x%02x)", version);

	/* Stop all motors on init */
	maqueen_stop_all(i2c_dev);

	/* Clear encoder counters */
	maqueen_encoder_clear(i2c_dev);

	return 0;
}

int maqueen_motor_set(const struct device *i2c_dev,
                      uint8_t motor, uint8_t direction, uint8_t speed)
{
	uint8_t reg;
	uint8_t buf[3];

	if (motor == MAQUEEN_MOTOR_LEFT) {
		reg = MAQUEEN_REG_MOTOR_LEFT;
	} else if (motor == MAQUEEN_MOTOR_RIGHT) {
		reg = MAQUEEN_REG_MOTOR_RIGHT;
	} else {
		return -EINVAL;
	}

	buf[0] = reg;
	buf[1] = direction ? MAQUEEN_DIR_REVERSE : MAQUEEN_DIR_FORWARD;
	buf[2] = speed;

	return i2c_write(i2c_dev, buf, sizeof(buf), MAQUEEN_I2C_ADDR);
}

int maqueen_motor_stop(const struct device *i2c_dev, uint8_t motor)
{
	return maqueen_motor_set(i2c_dev, motor, MAQUEEN_DIR_FORWARD, 0);
}

int maqueen_stop_all(const struct device *i2c_dev)
{
	int ret;

	ret = maqueen_motor_stop(i2c_dev, MAQUEEN_MOTOR_LEFT);
	if (ret < 0) {
		return ret;
	}

	return maqueen_motor_stop(i2c_dev, MAQUEEN_MOTOR_RIGHT);
}

int maqueen_headlight_set(const struct device *i2c_dev,
                          uint8_t headlight, uint8_t color)
{
	uint8_t buf[2];

	if (headlight > 1 || color > MAQUEEN_COLOR_WHITE) {
		return -EINVAL;
	}

	buf[0] = (headlight == 0) ? MAQUEEN_REG_HEADLIGHT_L : MAQUEEN_REG_HEADLIGHT_R;
	buf[1] = color;

	return i2c_write(i2c_dev, buf, sizeof(buf), MAQUEEN_I2C_ADDR);
}

int maqueen_encoder_read(const struct device *i2c_dev,
                         uint8_t motor, int16_t *count)
{
	uint8_t reg = MAQUEEN_REG_ENCODER_L;  /* Read both encoders at once */
	uint8_t buf[4];
	int ret;

	/*
	 * Read 4 bytes from register 0x04 (like Arduino library):
	 * buf[0:1] = left encoder (big-endian)
	 * buf[2:3] = right encoder (big-endian)
	 */
	ret = i2c_write(i2c_dev, &reg, 1, MAQUEEN_I2C_ADDR);
	if (ret < 0) {
		return ret;
	}

	ret = i2c_read(i2c_dev, buf, 4, MAQUEEN_I2C_ADDR);
	if (ret < 0) {
		return ret;
	}

	/* Big-endian 16-bit values (as per Arduino library) */
	if (motor == MAQUEEN_MOTOR_LEFT) {
		*count = (int16_t)((buf[0] << 8) | buf[1]);
	} else if (motor == MAQUEEN_MOTOR_RIGHT) {
		*count = (int16_t)((buf[2] << 8) | buf[3]);
	} else {
		return -EINVAL;
	}

	return 0;
}

int maqueen_speed_read(const struct device *i2c_dev,
                       uint8_t *left, uint8_t *right)
{
	uint8_t reg = MAQUEEN_REG_SPEED;
	uint8_t buf[2];
	int ret;

	ret = i2c_write(i2c_dev, &reg, 1, MAQUEEN_I2C_ADDR);
	if (ret < 0) {
		return ret;
	}

	ret = i2c_read(i2c_dev, buf, 2, MAQUEEN_I2C_ADDR);
	if (ret < 0) {
		return ret;
	}

	*left = buf[0];
	*right = buf[1];

	return 0;
}

int maqueen_encoder_clear(const struct device *i2c_dev)
{
	uint8_t buf[2] = { MAQUEEN_REG_CLEAR_ENC, 0x01 };

	return i2c_write(i2c_dev, buf, sizeof(buf), MAQUEEN_I2C_ADDR);
}

int maqueen_get_version(const struct device *i2c_dev, uint8_t *version)
{
	uint8_t reg = MAQUEEN_REG_VERSION;

	return i2c_write_read(i2c_dev, MAQUEEN_I2C_ADDR, &reg, 1, version, 1);
}
```
